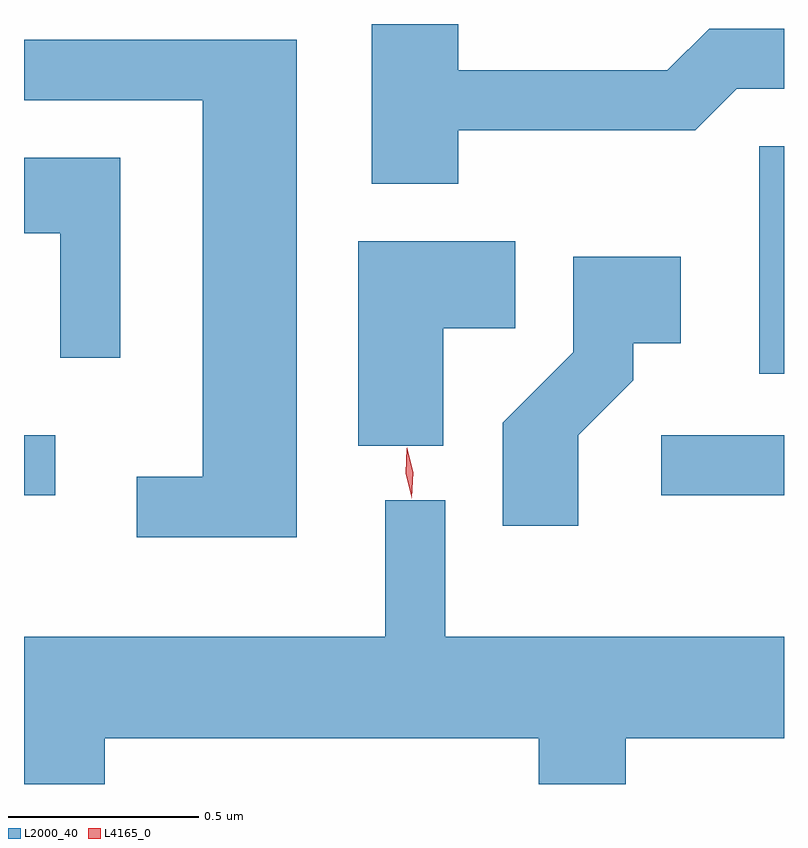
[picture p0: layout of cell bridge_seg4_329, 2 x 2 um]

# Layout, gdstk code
import gdstk
lib = gdstk.Library(unit=1e-6, precision=1e-09)
def R(c, l, rs):  # rectangles x0, y0, x1, y1
    for r in rs: c.add(gdstk.rectangle(r[:2], r[2:], *l))
def P(c, l, *ps):  # polygons
    for p in ps: c.add(gdstk.Polygon(p, *l))
L2000_40 = (2000, 40)
L4165_0 = (4165, 0)

bridge_seg4_329 = lib.new_cell('bridge_seg4_329')
R(bridge_seg4_329, L2000_40, [(730.556,1317.576,730.638,1317.734), (732.233,1317.576,732.556,1317.734), (732.491,1317.896,732.556,1318.494)])
P(bridge_seg4_329, L2000_40, [(731.699,1318.536),(732.322,1318.536),(732.432,1318.646),(732.556,1318.646),(732.556,1318.804),(732.359,1318.804),(732.249,1318.694),(731.699,1318.694),(731.699,1318.816),(731.471,1318.816),(731.471,1318.396),(731.699,1318.396)],
  [(731.274,1318.774),(730.556,1318.774),(730.556,1318.616),(731.026,1318.616),(731.026,1317.624),(730.853,1317.624),(730.853,1317.466),(731.274,1317.466)],
  [(730.809,1318.464),(730.556,1318.464),(730.556,1318.266),(730.651,1318.266),(730.651,1317.938),(730.809,1317.938)],
  [(731.659,1318.016),(731.849,1318.016),(731.849,1318.244),(731.436,1318.244),(731.436,1317.706),(731.659,1317.706)],
  [(732.014,1317.734),(732.159,1317.879),(732.159,1317.976),(732.284,1317.976),(732.284,1318.204),(732.001,1318.204),(732.001,1317.952),(731.816,1317.767),(731.816,1317.496),(732.014,1317.496)],
  [(730.769,1316.936),(731.911,1316.936),(731.911,1316.816),(732.139,1316.816),(732.139,1316.936),(732.556,1316.936),(732.556,1317.204),(731.664,1317.204),(731.664,1317.563),(731.506,1317.563),(731.506,1317.204),(730.556,1317.204),(730.556,1316.816),(730.769,1316.816)])
P(bridge_seg4_329, L4165_0, [(731.577,1317.568),(731.576,1317.569),(731.56,1317.634),(731.563,1317.7),(731.564,1317.701),(731.564,1317.7),(731.58,1317.636),(731.577,1317.569)])

lib.write_gds('bridge_seg4_329.gds')
